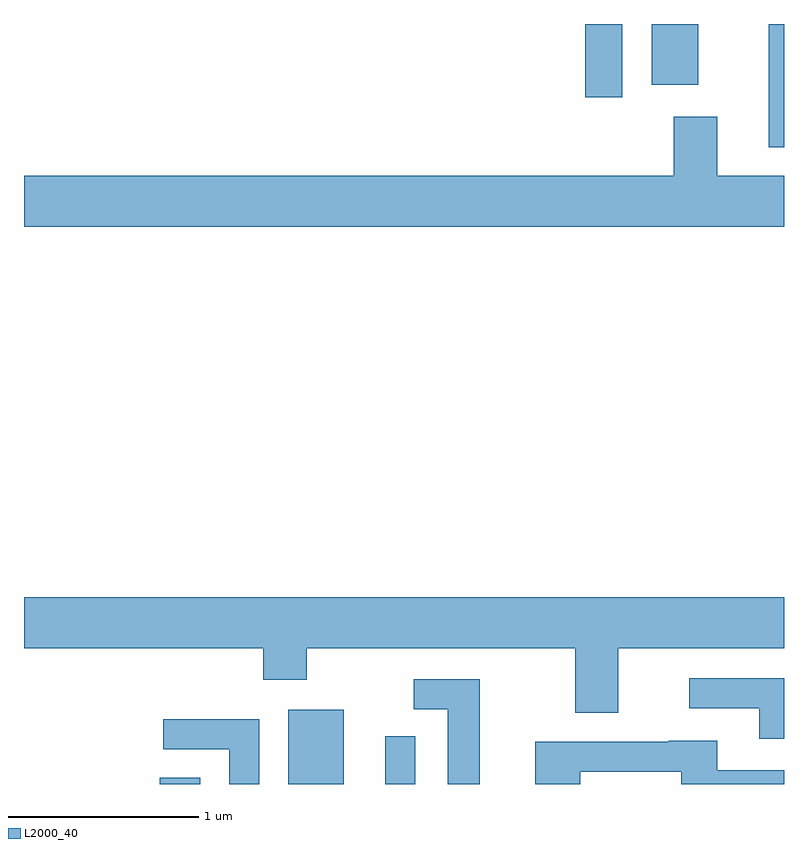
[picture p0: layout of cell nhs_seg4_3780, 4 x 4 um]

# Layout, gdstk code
import gdstk
lib = gdstk.Library(unit=1e-6, precision=1e-09)
def R(c, l, rs):  # rectangles x0, y0, x1, y1
    for r in rs: c.add(gdstk.rectangle(r[:2], r[2:], *l))
def P(c, l, *ps):  # polygons
    for p in ps: c.add(gdstk.Polygon(p, *l))
L2000_40 = (2000, 40)

nhs_seg4_3780 = lib.new_cell('nhs_seg4_3780')
R(nhs_seg4_3780, L2000_40, [(296.326,1333.982,296.539,1334.014), (297.001,1333.982,297.294,1334.374), (297.511,1333.982,297.669,1334.233), (299.531,1337.333,299.611,1337.982), (298.566,1337.596,298.759,1337.982), (298.916,1337.661,299.159,1337.982)])
P(nhs_seg4_3780, L2000_40, [(299.611,1337.184),(299.259,1337.184),(299.259,1337.494),(299.031,1337.494),(299.031,1337.184),(295.611,1337.184),(295.611,1336.916),(299.611,1336.916)],
  [(298.739,1334.696),(299.611,1334.696),(299.611,1334.964),(295.611,1334.964),(295.611,1334.696),(296.871,1334.696),(296.871,1334.531),(297.099,1334.531),(297.099,1334.696),(298.511,1334.696),(298.511,1334.356),(298.739,1334.356)],
  [(299.611,1334.539),(299.113,1334.539),(299.113,1334.381),(299.481,1334.381),(299.481,1334.221),(299.611,1334.221)],
  [(298.009,1334.534),(297.663,1334.534),(297.663,1334.376),(297.841,1334.376),(297.841,1333.982),(298.009,1333.982)],
  [(296.849,1334.324),(296.343,1334.324),(296.343,1334.166),(296.691,1334.166),(296.691,1333.982),(296.849,1333.982)],
  [(298.539,1334.046),(299.071,1334.046),(299.071,1333.982),(299.611,1333.982),(299.611,1334.054),(299.259,1334.054),(299.259,1334.209),(299.005,1334.209),(299.005,1334.204),(298.301,1334.204),(298.301,1333.982),(298.539,1333.982)])

lib.write_gds('nhs_seg4_3780.gds')
